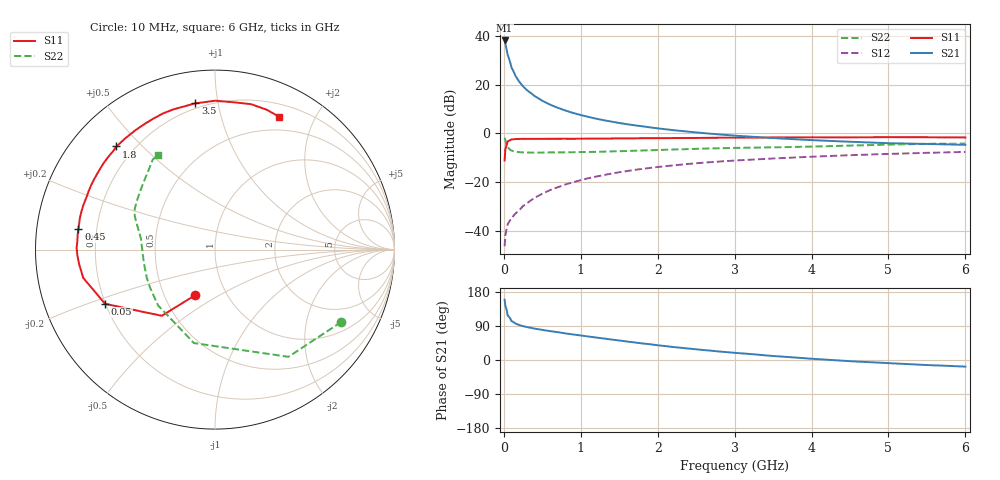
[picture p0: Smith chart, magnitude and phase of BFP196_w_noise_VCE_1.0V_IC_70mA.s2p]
! (c) 2017  Infineon Technologies AG, Munich
! Infineon Technologies  Discrete & RF Semiconductors
! BFP196
! VCE =  1.0 V,  IC =  70 mA
! Common Emitter S-Parameters:  Jan 2017
# GHz  S  MA  R  50
!  f  S11  S21  S12  S22
! GHz  MAG  ANG  MAG  ANG  MAG  ANG  MAG  ANG
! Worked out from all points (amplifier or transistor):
!   77 points, 10 MHz to 6 GHz, reference 50 ohm
!   highest |S21| = 38.2 dB at 10 MHz (marker M1)
!   |S21| within 3 dB of that: start of sweep to 31.53 MHz
!   unconditionally stable (mu >= 1): 337.1 MHz to 3.351 GHz; 5.814 GHz to end of sweep
!   at 130 MHz: K = 0.77, MSG = 29.4 dB, |S12| = -33.7 dB
!   at 2.2 GHz: K = 1.03, MAG = 6.3 dB, |S12| = -13.2 dB
!   at 6 GHz: K = 1.00, MAG = 1.1 dB, |S12| = -7.6 dB
!   lowest NFmin = 1.68 dB at 450 MHz
!   S11 on the Smith chart (normalised r, x): 10 MHz: 0.71, -0.39; 50 MHz: 0.20, -0.22; 450 MHz: 0.13, +0.07; 1.8 GHz: 0.14, +0.42; 3.5 GHz: 0.17, +0.86; 6 GHz: 0.34, +1.54
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0.01  0.2762 -113.4  81.02 159.2  0.0048 71.1  0.811 -29.8
0.02  0.4732 -128.8  69.63 142.8  0.008 61.4  0.724 -55.6
0.05  0.6831 -153.8  40.84 117.1  0.0135 48.0  0.5338 -102.7
0.1  0.7509 -167.9  22.47 102.5  0.018 52.9  0.4442 -135.6
0.15  0.7618 -174.1  15.27 96.4  0.0223 57.8  0.4191 -149.8
0.2  0.7673 -177.6  11.53 92.3  0.0264 62.2  0.411 -157.8
0.25  0.7711 179.3  9.241 89.2  0.032 62.9  0.4053 -162.9
0.3  0.7686 177.0  7.717 86.9  0.0365 64.8  0.4035 -166.8
0.4  0.7698 173.2  5.821 82.8  0.0472 67.7  0.4026 -171.7
0.45  0.7697 171.5  5.239 81.3  0.0522 67.8  0.4024 -173.4
0.5  0.7703 169.8  4.661 79.4  0.0573 67.8  0.4026 -175.1
0.6  0.7731 166.7  3.904 76.2  0.0681 67.9  0.4056 -177.9
0.7  0.7739 164.0  3.355 73.4  0.0779 67.8  0.4053 179.9
0.9  0.7731 158.0  2.622 67.4  0.099 65.6  0.4094 176.3
1.1  0.7778 152.5  2.173 62.0  0.1199 63.5  0.4145 173.2
1.8  0.7946 133.7  1.394 43.7  0.186 53.3  0.4441 164.7
2.1  0.7971 126.1  1.214 36.7  0.2112 48.5  0.4593 161.7
3.1  0.8148 104.9  0.876 17.4  0.2813 33.7  0.5047 151.6
3.5  0.8223 97.7  0.8 10.5  0.3044 28.7  0.5159 146.8
4.1  0.8281 88.3  0.714 2.1  0.3356 21.0  0.539 138.8
5.1  0.8332 74.8  0.622 -9.3  0.3814 9.2  0.5906 127.6
6  0.8216 64.2  0.58 -17.4  0.4153 -0.6  0.6144 121.3
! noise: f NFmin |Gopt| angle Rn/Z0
0.45  1.68  0.46  -172  0.06
0.9  1.84  0.5  -159  0.09
1.9  2.66  0.69  -131  0.36
2.4  3.05  0.7  -117  0.79
